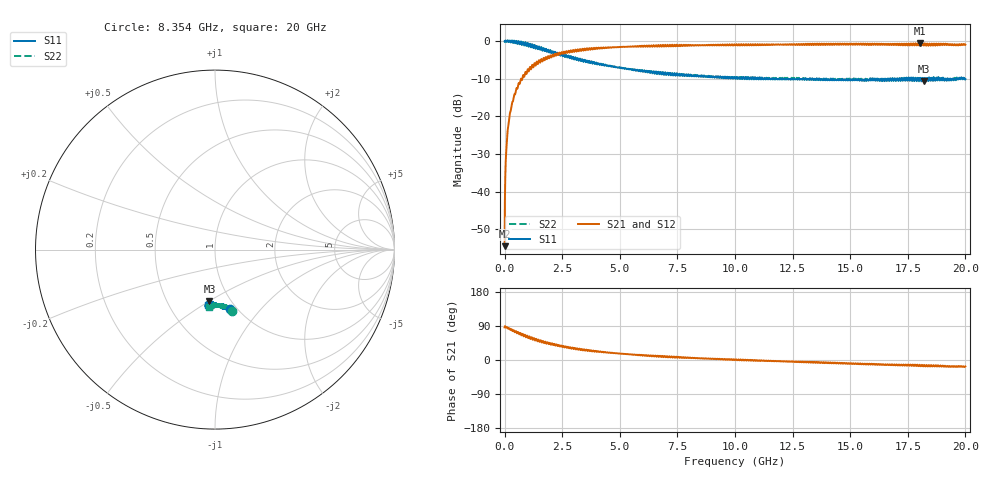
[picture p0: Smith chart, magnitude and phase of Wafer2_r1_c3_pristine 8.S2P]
!  2-Port S-parameters saved by WinCal
! VAR MeasName=S-Parameters (CALIBRATED_DATA) read from VNA (P5004A)
! VAR MeasDate=24/04/2024 16:00:03
! VAR NAME=Wafer2_r1_c3_pristine 8
! VAR FILENAME=Wafer2_r1_c3_pristine 8.S2P
! VAR DATE=24/04/2024 16:00:03
! VAR PHYS_PORTS=1,2
! VAR ObjTypeName=DATASET
! VAR IndexType=Frequency
# Hz S MA R 50
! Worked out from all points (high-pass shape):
!   4999 points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, 4.01 MHz to 20 GHz, reference 50 ohm
!   highest |S21| = -0.62 dB at 18.04 GHz (marker M1); lowest = -54.5 dB at 4.01 MHz (marker M2)
!   |S21| within 3 dB of the highest: 2.255 GHz to 2.318 GHz (62.81 MHz wide, 2.75 % of centre); 2.342 GHz to end of sweep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
!   lowest |S11| = -10.7 dB at 18.19 GHz (marker M3), VSWR 1.82, Z = 40 - j25.2 ohm
!   |S11| at or under -10 dB: 12.2 GHz to 16.53 GHz (4.338 GHz wide, 30.2 % of centre); 16.54 GHz to 16.63 GHz (87.34 MHz wide, 0.527 % of centre); 19.15 GHz to 19.33 GHz (178.2 MHz wide, 0.926 % of centre)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
!   |S22| runs from -10.5 to 0.1 dB; largest |S21 - S12| = 0.014
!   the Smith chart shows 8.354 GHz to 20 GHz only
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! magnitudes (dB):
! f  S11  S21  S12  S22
! 4.01 MHz  -0.1  -54.5  -54.4  -0.1
! 40.02 MHz  0.1  -34.3  -34.4  0.1
! 112 MHz  0.0  -25.7  -25.7  0.0
! 140 MHz  0.1  -23.6  -23.7  0.1
! 180 MHz  -0.2  -21.9  -21.8  -0.2
! 248.1 MHz  -0.1  -18.9  -19.0  0.0
! 348.1 MHz  -0.2  -16.2  -16.2  -0.2
! 464.1 MHz  -0.6  -14.1  -14.1  -0.6
! 624.1 MHz  -0.1  -11.1  -11.2  -0.2
! 824.2 MHz  -0.5  -9.1  -9.1  -0.5
! 1.04 GHz  -1.3  -8.1  -8.0  -1.3
! 1.564 GHz  -2.1  -5.4  -5.4  -2.1
! 2.348 GHz  -3.6  -3.5  -3.5  -3.6
! 3.341 GHz  -5.2  -2.5  -2.4  -5.2
! 4.797 GHz  -6.9  -1.6  -1.6  -6.8
! 6.673 GHz  -8.2  -1.1  -1.1  -8.3
! 10 GHz  -9.9  -1.1  -1.2  -9.8
! 13.33 GHz  -10.2  -1.0  -1.0  -10.0
! 16.67 GHz  -10.4  -0.9  -0.9  -10.1
! 18.04 GHz  -9.8  -0.6  -0.6  -10.1
! 18.19 GHz  -10.7  -1.2  -1.2  -10.3
! 20 GHz  -10.1  -1.0  -1.0  -9.9
